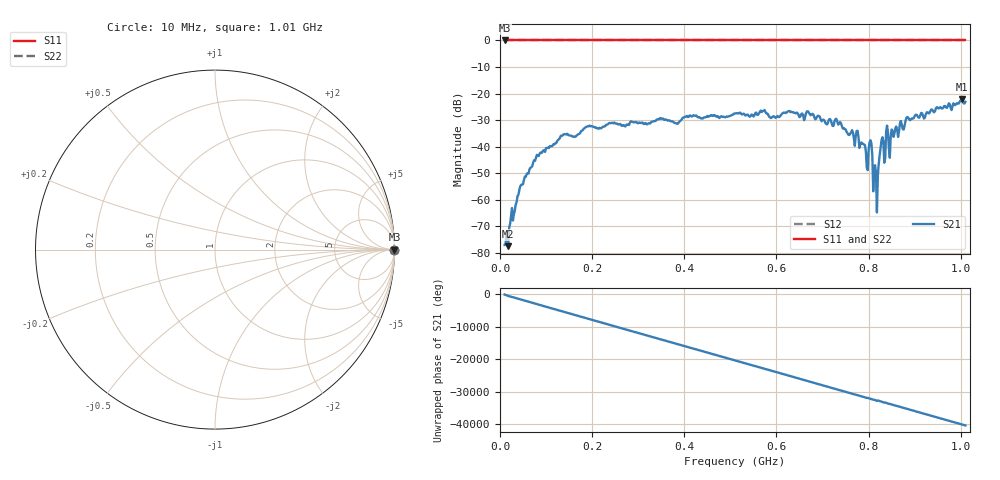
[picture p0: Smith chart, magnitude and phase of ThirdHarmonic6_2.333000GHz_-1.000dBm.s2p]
! 8/17/2025 3:23:43 AM
! C:\ANRITSUVNA\TEMP\TEMP.S2P
! CHANNEL.1
! TR.MEASUREMENT
! RAW.DATA
! RF.CORRECTION.OFF
! AVERAGING.OFF
! IF.BANDWIDTH: 5KHZ
! SWEEPTYPE:  FREQ.SWEEP(Linear)
! Reference Plane Port Info
! PORT:  PORT1  PORT2
! DISTANCE:  0  m  0  m
! TIME:  0  s  0  s
! PHASE.OFFSET:  0  deg.  0  deg.
! LOSS:  0  dB  0  dB
! REF.LOSS:  0  dB  0  dB
! REF.FREQ:  0  Hz  0  Hz
! Power Info
! POWER:  -20  dBm  -20  dBm
! EFF.POWER:  -20  dBm  -20  dBm
! SOURCE.ATTEN:  0  dB  0  dB
! TEST.ATTEN:  0  dB  0  dB
# GHZ S RI R 50.0
! FREQ.GHZ  S11RE  S11IM  S21RE  S21IM  S12RE  S12IM  S22RE  S22IM
!; PortSelection: Port_12
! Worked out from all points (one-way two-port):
!   501 points, 10 MHz to 1.01 GHz, reference 50 ohm
!   highest |S21| = -22.22 dB at 1.002 GHz (marker M1); lowest = -77.5 dB at 18 MHz (marker M2)
!   lowest |S11| = 0.0 dB at 10 MHz (marker M3)
!   |S11| at or under -10 dB: nowhere
!   |S22| runs from 0.0 to 0.0 dB; largest |S21 - S12| = 1.1
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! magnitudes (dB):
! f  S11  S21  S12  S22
! 10 MHz  0.0  -77.0  0.0  0.0
! 18 MHz  0.0  -77.5  0.0  0.0
! 42 MHz  0.0  -56.3  0.0  0.0
! 78 MHz  0.0  -44.2  0.0  0.0
! 136 MHz  0.0  -35.8  0.0  0.0
! 178 MHz  0.0  -34.0  0.0  0.0
! 344 MHz  0.0  -29.7  0.0  0.0
! 382 MHz  0.0  -31.2  0.0  0.0
! 510 MHz  0.0  -27.5  0.0  0.0
! 678 MHz  0.0  -27.7  0.0  0.0
! 730 MHz  0.0  -29.5  0.0  0.0
! 776 MHz  0.0  -34.0  0.0  0.0
! 796 MHz  0.0  -48.0  0.0  0.0
! 804 MHz  0.0  -37.6  0.0  0.0
! 814 MHz  0.0  -47.0  0.0  0.0
! 822 MHz  0.0  -46.4  0.0  0.0
! 824 MHz  0.0  -43.2  0.0  0.0
! 828 MHz  0.0  -37.5  0.0  0.0
! 844 MHz  0.0  -40.8  0.0  0.0
! 884 MHz  0.0  -28.8  0.0  0.0
! 1.002 GHz  0.0  -22.2  0.0  0.0
! 1.01 GHz  0.0  -23.1  0.0  0.0
